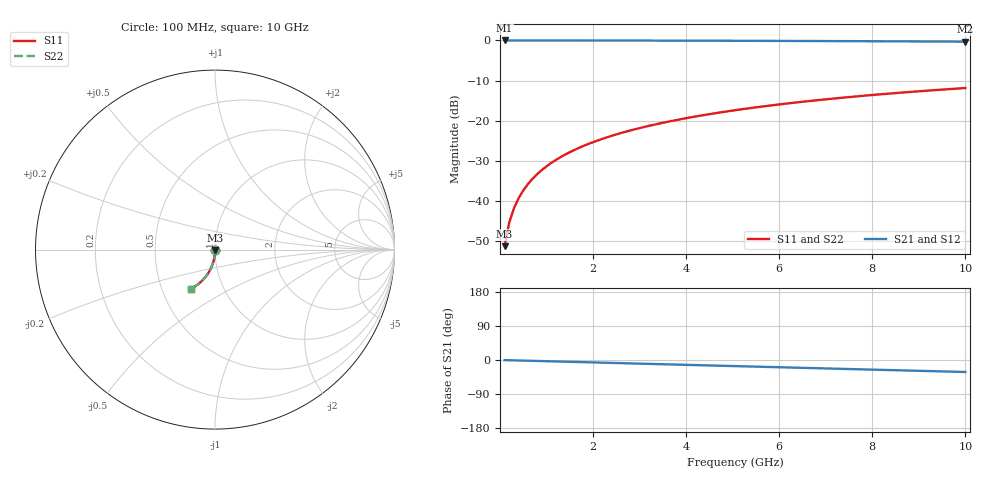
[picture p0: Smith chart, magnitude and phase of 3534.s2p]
# Hz S RI R 50.00
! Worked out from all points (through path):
!   100 points, 100 MHz to 10 GHz, reference 50 ohm
!   highest |S21| = 0.00 dB at 100 MHz (marker M1); lowest = -0.3 dB at 10 GHz (marker M2)
!   group delay of S21, straight-line fit = 8.8 ps
!   lowest |S11| = -51.2 dB at 100 MHz (marker M3), VSWR 1.01, Z = 50 - j0.272 ohm
!   |S11| at or under -10 dB: start of sweep to end of sweep
!   |S22| runs from -51.2 to -11.8 dB; largest |S21 - S12| = 0
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1e8  0.000474 -0.00272  0.9995 -0.00556  0.9995 -0.00556  0.000474 -0.00272
2e8  0.000428 -0.00543  0.9994 -0.0111  0.9994 -0.0111  0.000428 -0.00543
3e8  0.000351 -0.00815  0.9993 -0.0167  0.9993 -0.0167  0.000351 -0.00815
4e8  0.000243 -0.0109  0.9992 -0.0223  0.9992 -0.0223  0.000243 -0.0109
5e8  0.000105 -0.0136  0.999 -0.0278  0.999 -0.0278  0.000105 -0.0136
6e8  -6.4e-05 -0.0163  0.9988 -0.0334  0.9988 -0.0334  -6.4e-05 -0.0163
7e8  -0.000263 -0.019  0.9985 -0.0389  0.9985 -0.0389  -0.000263 -0.019
8e8  -0.000492 -0.0217  0.9982 -0.0445  0.9982 -0.0445  -0.000492 -0.0217
9e8  -0.000752 -0.0244  0.9979 -0.0501  0.9979 -0.0501  -0.000752 -0.0244
1.1e9  -0.00136 -0.0298  0.9971 -0.0612  0.9971 -0.0612  -0.00136 -0.0298
1.4e9  -0.0025 -0.0379  0.9957 -0.0778  0.9957 -0.0778  -0.0025 -0.0379
1.8e9  -0.00444 -0.0486  0.9932 -0.0999  0.9932 -0.0999  -0.00444 -0.0486
2.1e9  -0.00621 -0.0566  0.991 -0.1165  0.991 -0.1165  -0.00621 -0.0566
2.5e9  -0.00898 -0.0671  0.9874 -0.1384  0.9874 -0.1384  -0.00898 -0.0671
2.9e9  -0.0122 -0.0775  0.9833 -0.1603  0.9833 -0.1603  -0.0122 -0.0775
3.4e9  -0.0169 -0.0903  0.9773 -0.1874  0.9773 -0.1874  -0.0169 -0.0903
4.2e9  -0.0259 -0.1102  0.9658 -0.2301  0.9658 -0.2301  -0.0259 -0.1102
5.1e9  -0.038 -0.1314  0.9502 -0.2773  0.9502 -0.2773  -0.038 -0.1314
5.9e9  -0.0504 -0.1491  0.9341 -0.318  0.9341 -0.318  -0.0504 -0.1491
6.7e9  -0.0643 -0.1655  0.9159 -0.3577  0.9159 -0.3577  -0.0643 -0.1655
8.4e9  -0.0981 -0.1958  0.8711 -0.4374  0.8711 -0.4374  -0.0981 -0.1958
1e10  -0.1339 -0.2178  0.8224 -0.5063  0.8224 -0.5063  -0.1339 -0.2178
